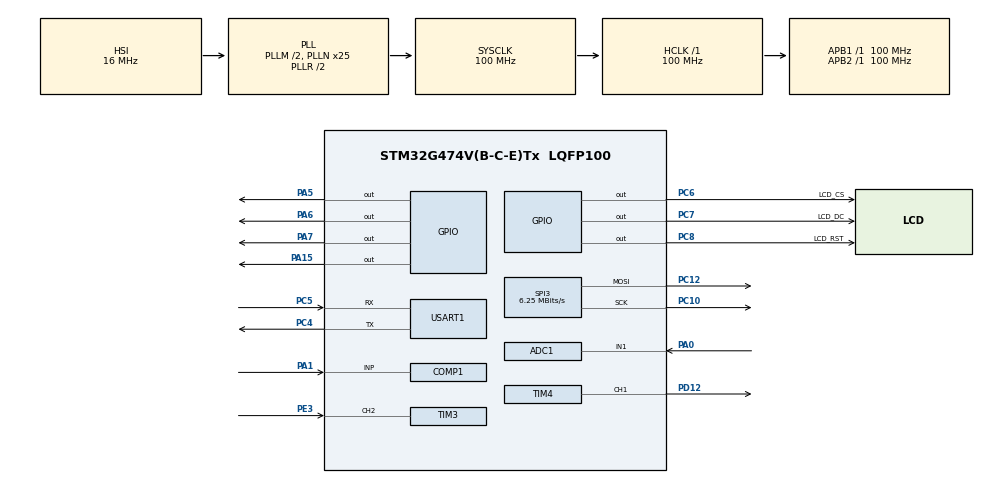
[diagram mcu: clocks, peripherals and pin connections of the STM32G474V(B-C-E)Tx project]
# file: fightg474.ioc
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ADC1.Channel-0\#ChannelRegularConversion=ADC_CHANNEL_1
ADC1.DMAContinuousRequests=ENABLE
ADC1.ExternalTrigConv=ADC_EXTERNALTRIG_T1_TRGO
ADC1.NbrOfConversionFlag=1
ADC1.OffsetNumber-0\#ChannelRegularConversion=ADC_OFFSET_NONE
ADC1.Rank-0\#ChannelRegularConversion=1
ADC1.SamplingTime-0\#ChannelRegularConversion=ADC_SAMPLETIME_2CYCLES_5
ADC1.master=1
COMP1.Hysteresis=COMP_HYSTERESIS_LOW
COMP1.TriggerMode=COMP_TRIGGERMODE_IT_RISING_FALLING
Dma.ADC1.0.Direction=DMA_PERIPH_TO_MEMORY
Dma.ADC1.0.EventEnable=DISABLE
Dma.ADC1.0.Instance=DMA1_Channel1
Dma.ADC1.0.MemDataAlignment=DMA_MDATAALIGN_WORD
Dma.ADC1.0.MemInc=DMA_MINC_ENABLE
Dma.ADC1.0.Mode=DMA_NORMAL
Dma.ADC1.0.PeriphDataAlignment=DMA_PDATAALIGN_WORD
Dma.ADC1.0.PeriphInc=DMA_PINC_DISABLE
Dma.ADC1.0.Polarity=HAL_DMAMUX_REQ_GEN_RISING
Dma.ADC1.0.Priority=DMA_PRIORITY_LOW
Dma.ADC1.0.RequestNumber=1
Dma.ADC1.0.SignalID=NONE
Dma.ADC1.0.SyncEnable=DISABLE
Dma.ADC1.0.SyncPolarity=HAL_DMAMUX_SYNC_NO_EVENT
Dma.ADC1.0.SyncRequestNumber=1
Dma.ADC1.0.SyncSignalID=NONE
Dma.Request0=ADC1
Mcu.Family=STM32G4
Mcu.Name=STM32G474V(B-C-E)Tx
Mcu.Package=LQFP100
NVIC.ADC1_2_IRQn=true\:0\:0\:false\:false\:true\:true\:true\:true
NVIC.COMP1_2_3_IRQn=true\:0\:0\:false\:false\:true\:false\:true\:true
NVIC.DMA1_Channel1_IRQn=true\:0\:0\:false\:false\:true\:false\:true\:true
NVIC.PriorityGroup=NVIC_PRIORITYGROUP_4
PA0.Mode=IN1-Single-Ended
PA0.Signal=ADC1_IN1
PA1.Mode=INP
PA1.Signal=COMP1_INP
PA13.Mode=Serial_Wire
PA13.Signal=SYS_JTMS-SWDIO
PA14.Mode=Serial_Wire
PA14.Signal=SYS_JTCK-SWCLK
PA15.GPIO_Speed=GPIO_SPEED_FREQ_HIGH
PA15.PinState=GPIO_PIN_SET
PA15.Signal=GPIO_Output
PA5.GPIO_Speed=GPIO_SPEED_FREQ_HIGH
PA5.PinState=GPIO_PIN_SET
PA5.Signal=GPIO_Output
PA6.GPIO_Speed=GPIO_SPEED_FREQ_HIGH
PA6.PinState=GPIO_PIN_SET
PA6.Signal=GPIO_Output
PA7.GPIO_Speed=GPIO_SPEED_FREQ_HIGH
PA7.PinState=GPIO_PIN_SET
PA7.Signal=GPIO_Output
PC10.Mode=TX_Only_Simplex_Unidirect_Master
PC10.Signal=SPI3_SCK
PC12.Mode=TX_Only_Simplex_Unidirect_Master
PC12.Signal=SPI3_MOSI
PC14-OSC32_IN.Mode=LSE-External-Oscillator
PC14-OSC32_IN.Signal=RCC_OSC32_IN
PC15-OSC32_OUT.Mode=LSE-External-Oscillator
PC15-OSC32_OUT.Signal=RCC_OSC32_OUT
PC4.Mode=Asynchronous
PC4.Signal=USART1_TX
PC5.Mode=Asynchronous
PC5.Signal=USART1_RX
PC6.GPIO_Label=LCD_CS
PC6.Signal=GPIO_Output
PC7.GPIO_Label=LCD_DC
PC7.Signal=GPIO_Output
PC8.GPIO_Label=LCD_RST
PC8.Signal=GPIO_Output
PD12.Signal=S_TIM4_CH1
PE3.Signal=S_TIM3_CH2
PF0-OSC_IN.Mode=HSE-External-Oscillator
PF0-OSC_IN.Signal=RCC_OSC_IN
PF1-OSC_OUT.Mode=HSE-External-Oscillator
PF1-OSC_OUT.Signal=RCC_OSC_OUT
ProjectManager.HeapSize=0x200
ProjectManager.StackSize=0x400
ProjectManager.TargetToolchain=MDK-ARM V5.32
RCC.ADC12Freq_Value=100000000
RCC.ADC345Freq_Value=100000000
RCC.AHBFreq_Value=100000000
RCC.APB1Freq_Value=100000000
RCC.APB1TimFreq_Value=100000000
RCC.APB2Freq_Value=100000000
RCC.APB2TimFreq_Value=100000000
RCC.CortexFreq_Value=100000000
RCC.EXTERNAL_CLOCK_VALUE=12288000
RCC.HCLKFreq_Value=100000000
RCC.HSE_VALUE=8000000
RCC.HSI48_VALUE=48000000
RCC.HSI_VALUE=16000000
RCC.PLLM=RCC_PLLM_DIV2
RCC.PLLN=25
RCC.SYSCLKFreq_VALUE=100000000
RCC.SYSCLKSource=RCC_SYSCLKSOURCE_PLLCLK
RCC.USBFreq_Value=100000000
RCC.VCOOutputFreq_Value=200000000
SH.S_TIM3_CH2.0=TIM3_CH2,Input_Capture2_from_TI2
SH.S_TIM4_CH1.0=TIM4_CH1,PWM Generation1 CH1
SPI3.BaudRatePrescaler=SPI_BAUDRATEPRESCALER_16
SPI3.CalculateBaudRate=6.25 MBits/s
SPI3.DataSize=SPI_DATASIZE_8BIT
SPI3.Direction=SPI_DIRECTION_2LINES
SPI3.Mode=SPI_MODE_MASTER
SPI3.VirtualType=VM_MASTER
TIM1.AutoReloadPreload=TIM_AUTORELOAD_PRELOAD_ENABLE
TIM1.PeriodNoDither=47
TIM1.Prescaler=1
TIM1.TIM_MasterOutputTrigger=TIM_TRGO_UPDATE
TIM3.Channel-Input_Capture2_from_TI2=TIM_CHANNEL_2
TIM4.AutoReloadPreload=TIM_AUTORELOAD_PRELOAD_ENABLE
TIM4.Channel-PWM\ Generation1\ CH1=TIM_CHANNEL_1
TIM4.ClockDivision=TIM_CLOCKDIVISION_DIV2
TIM4.PeriodNoDither=199
TIM4.Prescaler=99
TIM4.PulseNoDither_1=100
USART1.VirtualMode-Asynchronous=VM_ASYNC
VP_COMP1_VS_DAC3OUT1.Mode=INM_DAC3OUT1
VP_DAC3_VS_DACI1.Mode=DAC_OUT1_Int
VP_SYS_VS_DBSignals.Mode=DisableDeadBatterySignals
VP_TIM1_VS_ClockSourceINT.Mode=Internal
VP_TIM4_VS_ClockSourceINT.Mode=Internal
board=custom

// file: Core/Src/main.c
/* USER CODE BEGIN Header */
/**
  ******************************************************************************
  * @file           : main.c
  * @brief          : Main program body
  ******************************************************************************
  * @attention
  *
  * Copyright (c) 2026 STMicroelectronics.
  * All rights reserved.
  *
  * This software is licensed under terms that can be found in the LICENSE file
  * in the root directory of this software component.
  * If no LICENSE file comes with this software, it is provided AS-IS.
  *
  ******************************************************************************
  */
/* USER CODE END Header */
#include "main.h"
#include "adc.h"
#include "comp.h"
#include "dac.h"
#include "dma.h"
#include "spi.h"
#include "tim.h"
#include "usart.h"
#include "gpio.h"

/* USER CODE BEGIN Includes */
#include <math.h>
#include <stdio.h>
#include <stdlib.h>
#include "st7735s.h"
/* USER CODE END Includes */

/* USER CODE BEGIN PD */
#define COMP_DAC_INIT_CODE 1600U
#define COMP_SCAN_START_MV 1650U
#define COMP_SCAN_END_MV   2650U
#define COMP_SCAN_STEP_MV  100U
#define COMP_TARGET_OUT_HZ 5000U
#define COMP_SCAN_WINDOW_MS 100U
/* USER CODE END PD */

/* USER CODE BEGIN PV */
//extern UART_HandleTypeDef huart1;

volatile uint16_t comp_dac_code = COMP_DAC_INIT_CODE;
volatile uint32_t tim3_update_count = 0U;
volatile uint32_t tim3_update_count_last = 0U;
volatile uint8_t pd12_div_state = 0U;
volatile uint32_t comp_input_freq_hz = 0U;
volatile uint32_t tim3_divider_edges = 5U;
volatile uint32_t comp_best_error_hz = 0U;
volatile float adc_avg_v = 0.0f;
volatile float adc_min_v = 0.0f;
volatile float adc_max_v = 0.0f;
volatile float signal_a_hz = 0.0f;
volatile float signal_b_hz = 0.0f;
volatile float signal_a_mag = 0.0f;
volatile float signal_b_mag = 0.0f;
/* USER CODE END PV */

void SystemClock_Config(void);
/* USER CODE BEGIN PFP */
static void tim3_div10_output_init(void);
static void format_float_3(char *buffer, size_t buffer_size, float value);
static uint16_t dac_code_from_mv(uint32_t mv);
static void tim3_prepare_scan_mode(void);
static uint32_t measure_comp_frequency_hz(uint16_t dac_code);
static void tim3_apply_dynamic_divider(uint32_t input_freq_hz);
static void auto_tune_comp_and_divider(void);
static uint32_t fft_freq_to_bin(uint32_t freq_hz);
static float fft_bin_to_freq(uint32_t bin);
static float refine_peak_frequency(uint32_t peak_bin);
static void find_signal_peaks(float *freq_a_hz, float *mag_a, float *freq_b_hz, float *mag_b);
static void process_adc_fft_and_regenerate(void);
/* USER CODE END PFP */

/* USER CODE BEGIN 0 */
void uart_send_string(char *str)
{
	while (*str)
	{
		HAL_UART_Transmit(&huart1, (uint8_t *)str, 1U, 0xFFFFU);
		str++;
	}
}

void System_Init(void)
{
	MX_USART1_UART_Init();
}

static void tim3_div10_output_init(void)
{
	GPIO_InitTypeDef GPIO_InitStruct = {0};

	HAL_GPIO_DeInit(GPIOD, GPIO_PIN_12);
	GPIO_InitStruct.Pin = GPIO_PIN_12;
	GPIO_InitStruct.Mode = GPIO_MODE_OUTPUT_PP;
	GPIO_InitStruct.Pull = GPIO_NOPULL;
	GPIO_InitStruct.Speed = GPIO_SPEED_FREQ_LOW;
	HAL_GPIO_Init(GPIOD, &GPIO_InitStruct);
	HAL_GPIO_WritePin(GPIOD, GPIO_PIN_12, GPIO_PIN_RESET);
	pd12_div_state = 0U;
	uart_send_string("BOOT: TIM3 div10 gpio ready\r\n");

	if (HAL_TIMEx_TISelection(&htim3, TIM_TIM3_TI2_COMP1, TIM_CHANNEL_2) != HAL_OK)
	{
		uart_send_string("ERR: HAL_TIMEx_TISelection failed\r\n");
		Error_Handler();
	}
	uart_send_string("BOOT: TIM3 TISelection ok\r\n");
	if (HAL_TIM_IC_Start(&htim3, TIM_CHANNEL_2) != HAL_OK)
	{
		uart_send_string("ERR: HAL_TIM_IC_Start failed\r\n");
		Error_Handler();
	}
	uart_send_string("BOOT: TIM3 IC start ok\r\n");
	if (HAL_TIM_Base_Start(&htim3) != HAL_OK)
	{
		uart_send_string("ERR: HAL_TIM_Base_Start failed\r\n");
		Error_Handler();
	}
	uart_send_string("BOOT: TIM3 base start ok\r\n");
	__HAL_TIM_DISABLE_IT(&htim3, TIM_IT_UPDATE);
}

static void format_float_3(char *buffer, size_t buffer_size, float value)
{
	long scaled;
	long integer_part;
	long frac_part;

	if (buffer_size == 0U)
	{
		return;
	}

	scaled = lroundf(value * 1000.0f);
	integer_part = scaled / 1000L;
	frac_part = labs(scaled % 1000L);
	snprintf(buffer, buffer_size, "%ld.%03ld", integer_part, frac_part);
}

static uint16_t dac_code_from_mv(uint32_t mv)
{
	uint32_t code = ((mv * 4095U) + 1650U) / 3300U;
	if (code > 4095U)
	{
		code = 4095U;
	}
	return (uint16_t)code;
}

static void tim3_prepare_scan_mode(void)
{
	__HAL_TIM_DISABLE_IT(&htim3, TIM_IT_UPDATE);
	__HAL_TIM_SET_AUTORELOAD(&htim3, 0xFFFFU);
	__HAL_TIM_SET_COUNTER(&htim3, 0U);
	__HAL_TIM_CLEAR_FLAG(&htim3, TIM_FLAG_UPDATE);
	HAL_GPIO_WritePin(GPIOD, GPIO_PIN_12, GPIO_PIN_RESET);
	pd12_div_state = 0U;
	tim3_update_count = 0U;
	tim3_update_count_last = 0U;
}

static uint32_t measure_comp_frequency_hz(uint16_t dac_code)
{
	uint32_t start_tick;
	uint32_t edge_count;

	HAL_DAC_SetValue(&hdac3, DAC_CHANNEL_1, DAC_ALIGN_12B_R, dac_code);
	HAL_Delay(20U);
	tim3_prepare_scan_mode();
	start_tick = HAL_GetTick();
	while ((HAL_GetTick() - start_tick) < COMP_SCAN_WINDOW_MS)
	{
	}
	edge_count = __HAL_TIM_GET_COUNTER(&htim3);
	return edge_count * (1000U / COMP_SCAN_WINDOW_MS);
}

static void tim3_apply_dynamic_divider(uint32_t input_freq_hz)
{
	uint32_t divider_edges;

	divider_edges = (input_freq_hz + COMP_TARGET_OUT_HZ) / (2U * COMP_TARGET_OUT_HZ);
	if (divider_edges < 1U)
	{
		divider_edges = 1U;
	}
	if (divider_edges > 65535U)
	{
		divider_edges = 65535U;
	}

	tim3_divider_edges = divider_edges;
	comp_input_freq_hz = input_freq_hz;
	__HAL_TIM_DISABLE_IT(&htim3, TIM_IT_UPDATE);
	__HAL_TIM_SET_AUTORELOAD(&htim3, divider_edges - 1U);
	__HAL_TIM_SET_COUNTER(&htim3, 0U);
	__HAL_TIM_CLEAR_FLAG(&htim3, TIM_FLAG_UPDATE);
	HAL_GPIO_WritePin(GPIOD, GPIO_PIN_12, GPIO_PIN_RESET);
	pd12_div_state = 0U;
	tim3_update_count = 0U;
	tim3_update_count_last = 0U;
	__HAL_TIM_ENABLE_IT(&htim3, TIM_IT_UPDATE);
}

static void auto_tune_comp_and_divider(void)
{
	uint32_t mv;
	uint32_t best_freq = 0U;
	uint16_t best_code = comp_dac_code;
	uint32_t best_error = 0xFFFFFFFFUL;
	char line[160];

	uart_send_string("COMP auto scan start\r\n");
	for (mv = COMP_SCAN_START_MV; mv <= COMP_SCAN_END_MV; mv += COMP_SCAN_STEP_MV)
	{
		uint16_t code = dac_code_from_mv(mv);
		uint32_t measured_freq = measure_comp_frequency_hz(code);
		uint32_t divider_edges = (measured_freq + COMP_TARGET_OUT_HZ) / (2U * COMP_TARGET_OUT_HZ);
		uint32_t estimated_out_hz;
		uint32_t error_hz;

		if (divider_edges < 1U)
		{
			divider_edges = 1U;
		}
		estimated_out_hz = measured_freq / (2U * divider_edges);
		error_hz = (estimated_out_hz > COMP_TARGET_OUT_HZ) ? (estimated_out_hz - COMP_TARGET_OUT_HZ) : (COMP_TARGET_OUT_HZ - estimated_out_hz);

		sprintf(line,
				"COMP scan: %lumV code=%u, comp=%luHz, div=%lu, out=%luHz, err=%luHz\r\n",
				(unsigned long)mv,
				code,
				(unsigned long)measured_freq,
				(unsigned long)divider_edges,
				(unsigned long)estimated_out_hz,
				(unsigned long)error_hz);
		uart_send_string(line);

		if (measured_freq > 0U && error_hz < best_error)
		{
			best_error = error_hz;
			best_code = code;
			best_freq = measured_freq;
		}
	}

	comp_dac_code = best_code;
	comp_best_error_hz = best_error;
	HAL_DAC_SetValue(&hdac3, DAC_CHANNEL_1, DAC_ALIGN_12B_R, comp_dac_code);
	tim3_apply_dynamic_divider(best_freq);

	sprintf(line,
			"COMP scan selected: code=%u, comp=%luHz, div=%lu, target=%luHz, err=%luHz\r\n",
			comp_dac_code,
			(unsigned long)comp_input_freq_hz,
			(unsigned long)tim3_divider_edges,
			(unsigned long)COMP_TARGET_OUT_HZ,
			(unsigned long)comp_best_error_hz);
	uart_send_string(line);
}

static uint32_t fft_freq_to_bin(uint32_t freq_hz)
{
	uint32_t bin = (uint32_t)((((uint64_t)freq_hz) * FFT_LENGTH + ((uint64_t)ADC1_SAMPLE_FREQ_HZ / 2ULL)) / (uint64_t)ADC1_SAMPLE_FREQ_HZ);
	uint32_t max_bin = (FFT_LENGTH / 2U) - 1U;
	if (bin > max_bin)
	{
		bin = max_bin;
	}
	return bin;
}

static float fft_bin_to_freq(uint32_t bin)
{
	return ((float)bin * ADC1_SAMPLE_FREQ_HZ) / (float)FFT_LENGTH;
}

static float refine_peak_frequency(uint32_t peak_bin)
{
	float left;
	float center;
	float right;
	float denom;
	float delta = 0.0f;

	if ((peak_bin == 0U) || (peak_bin >= ((FFT_LENGTH / 2U) - 1U)))
	{
		return fft_bin_to_freq(peak_bin);
	}

	left = fft_out[peak_bin - 1U];
	center = fft_out[peak_bin];
	right = fft_out[peak_bin + 1U];
	denom = left - (2.0f * center) + right;
	if (fabsf(denom) > 1e-6f)
	{
		delta = 0.5f * (left - right) / denom;
		if (delta > 1.0f)
		{
			delta = 1.0f;
		}
		else if (delta < -1.0f)
		{
			delta = -1.0f;
		}
	}
	return (((float)peak_bin + delta) * ADC1_SAMPLE_FREQ_HZ) / (float)FFT_LENGTH;
}

static void find_signal_peaks(float *freq_a_hz, float *mag_a, float *freq_b_hz, float *mag_b)
{
	uint32_t min_bin = fft_freq_to_bin(FFT_SEARCH_FREQ_MIN_HZ);
	uint32_t max_bin = fft_freq_to_bin(FFT_SEARCH_FREQ_MAX_HZ);
	uint32_t peak1_bin = min_bin;
	uint32_t peak2_bin = min_bin;
	float peak1_mag = 0.0f;
	float peak2_mag = 0.0f;
	uint32_t i;
	uint32_t exclusion_radius = 3U;

	for (i = min_bin; i <= max_bin; i++)
	{
		if (fft_out[i] > peak1_mag)
		{
			peak1_mag = fft_out[i];
			peak1_bin = i;
		}
	}

	for (i = min_bin; i <= max_bin; i++)
	{
		uint32_t distance = (i > peak1_bin) ? (i - peak1_bin) : (peak1_bin - i);
		if (distance <= exclusion_radius)
		{
			continue;
		}
		if (fft_out[i] > peak2_mag)
		{
			peak2_mag = fft_out[i];
			peak2_bin = i;
		}
	}

	*freq_a_hz = refine_peak_frequency(peak1_bin);
	*mag_a = peak1_mag;
	*freq_b_hz = refine_peak_frequency(peak2_bin);
	*mag_b = peak2_mag;
	if (*freq_a_hz > *freq_b_hz)
	{
		float tmp_freq = *freq_a_hz;
		float tmp_mag = *mag_a;
		*freq_a_hz = *freq_b_hz;
		*mag_a = *mag_b;
		*freq_b_hz = tmp_freq;
		*mag_b = tmp_mag;
	}
}

static void process_adc_fft_and_regenerate(void)
{
	float local_avg = 0.0f;
	float local_min = adc1_data[0];
	float local_max = adc1_data[0];
	float freq_a = 0.0f;
	float freq_b = 0.0f;
	float mag_a = 0.0f;
	float mag_b = 0.0f;
	uint32_t i;

	for (i = 0U; i < ADC1_DMA_BUFFER_LENGTH; i++)
	{
		float value = adc1_data[i];
		local_avg += value;
		if (value < local_min)
		{
			local_min = value;
		}
		if (value > local_max)
		{
			local_max = value;
		}
	}
	local_avg /= (float)ADC1_DMA_BUFFER_LENGTH;

	calculate_fft(adc1_data, FFT_LENGTH);
	find_signal_peaks(&freq_a, &mag_a, &freq_b, &mag_b);

	adc_avg_v = local_avg;
	adc_min_v = local_min;
	adc_max_v = local_max;
	signal_a_hz = freq_a;
	signal_b_hz = freq_b;
	signal_a_mag = mag_a;
	signal_b_mag = mag_b;

	dds_update_frequency(0U, (uint32_t)(freq_a + 0.5f));
	dds_update_frequency(1U, (uint32_t)(freq_b + 0.5f));

	if (HAL_ADC_Start_DMA(&hadc1, adc1_dma_buffer, ADC1_DMA_BUFFER_LENGTH) != HAL_OK)
	{
		uart_send_string("ERR: HAL_ADC_Start_DMA rearm failed\r\n");
	}
}
/* USER CODE END 0 */

int main(void)
{

  /* MCU Configuration--------------------------------------------------------*/

  /* Reset of all peripherals, Initializes the Flash interface and the Systick. */
  HAL_Init();

  /* Configure the system clock */
  SystemClock_Config();

  /* Initialize all configured peripherals */
  MX_GPIO_Init();
  MX_DMA_Init();
  MX_ADC1_Init();
  MX_TIM1_Init();
  MX_USART1_UART_Init();
  MX_COMP1_Init();
  MX_DAC3_Init();
  MX_TIM3_Init();
  MX_TIM4_Init();
  MX_SPI3_Init();
  /* USER CODE BEGIN 2 */
	System_Init();
	uart_send_string("BOOT: after System_Init\r\n");
	HAL_DAC_SetValue(&hdac3, DAC_CHANNEL_1, DAC_ALIGN_12B_R, comp_dac_code);
	HAL_DAC_Start(&hdac3, DAC_CHANNEL_1);
	uart_send_string("BOOT: after DAC start\r\n");
	if (HAL_COMP_Start(&hcomp1) != HAL_OK)
	{
		Error_Handler();
	}
	uart_send_string("BOOT: after COMP start\r\n");
	HAL_NVIC_DisableIRQ(COMP1_2_3_IRQn);
	{
		char line[80];
		sprintf(line, "COMP DAC start code: %u\r\n", comp_dac_code);
		uart_send_string(line);
	}
	uart_send_string("BOOT: before TIM3 div10 init\r\n");
	tim3_div10_output_init();
	uart_send_string("BOOT: after TIM3 div10 init\r\n");
	auto_tune_comp_and_divider();
	uart_send_string("TIM3 dynamic divided output started on PD12\r\n");
	uart_send_string("LCD init skipped for debug\r\n");
	init_hanning_window();
	My_ADC_Init();
	AD9833_Init();
	dds_proc();
	uart_send_string("FFT + AD9833 chain started\r\n");
  /* USER CODE END 2 */

  /* Infinite loop */
  /* USER CODE BEGIN WHILE */
	while (1)
	{
		static uint32_t last_report_ms = 0U;
		adc1_deal();
		if (adc1_proc_flag)
		{
			adc1_proc_flag = 0U;
			process_adc_fft_and_regenerate();
		}
		if ((HAL_GetTick() - last_report_ms) >= 500U)
		{
			char line[160];
			char freq_str[24];
			char avg_str[24];
			char min_str[24];
			char max_str[24];
			char sig_a_str[24];
			char sig_b_str[24];
			char mag_a_str[24];
			char mag_b_str[24];
			uint32_t update_delta = tim3_update_count - tim3_update_count_last;
			float divided_freq_hz = (float)update_delta;
			last_report_ms = HAL_GetTick();
			tim3_update_count_last = tim3_update_count;
			format_float_3(freq_str, sizeof(freq_str), divided_freq_hz);
			format_float_3(avg_str, sizeof(avg_str), adc_avg_v);
			format_float_3(min_str, sizeof(min_str), adc_min_v);
			format_float_3(max_str, sizeof(max_str), adc_max_v);
			format_float_3(sig_a_str, sizeof(sig_a_str), signal_a_hz);
			format_float_3(sig_b_str, sizeof(sig_b_str), signal_b_hz);
			format_float_3(mag_a_str, sizeof(mag_a_str), signal_a_mag);
			format_float_3(mag_b_str, sizeof(mag_b_str), signal_b_mag);
			sprintf(line,
					"COMP auto mode: dac=%u, comp=%luHz, div=%lu, err=%luHz, updates/500ms=%lu, PD12=%sHz\r\n",
					comp_dac_code,
					(unsigned long)comp_input_freq_hz,
					(unsigned long)tim3_divider_edges,
					(unsigned long)comp_best_error_hz,
					update_delta,
					freq_str);
			uart_send_string(line);
			sprintf(line, "ADC Avg: %s V\r\n", avg_str);
			uart_send_string(line);
			sprintf(line, "ADC Min/Max: %s / %s V\r\n", min_str, max_str);
			uart_send_string(line);
			sprintf(line, "Signal A': %s Hz, Mag: %s\r\n", sig_a_str, mag_a_str);
			uart_send_string(line);
			sprintf(line, "Signal B': %s Hz, Mag: %s\r\n", sig_b_str, mag_b_str);
			uart_send_string(line);
		}
	}
    /* USER CODE END WHILE */

}

void SystemClock_Config(void)
{
  RCC_OscInitTypeDef RCC_OscInitStruct = {0};
  RCC_ClkInitTypeDef RCC_ClkInitStruct = {0};

  /** Configure the main internal regulator output voltage
  */
  HAL_PWREx_ControlVoltageScaling(PWR_REGULATOR_VOLTAGE_SCALE1);

  /** Initializes the RCC Oscillators according to the specified parameters
  * in the RCC_OscInitTypeDef structure.
  */
  RCC_OscInitStruct.OscillatorType = RCC_OSCILLATORTYPE_HSI;
  RCC_OscInitStruct.HSIState = RCC_HSI_ON;
  RCC_OscInitStruct.HSICalibrationValue = RCC_HSICALIBRATION_DEFAULT;
  RCC_OscInitStruct.PLL.PLLState = RCC_PLL_ON;
  RCC_OscInitStruct.PLL.PLLSource = RCC_PLLSOURCE_HSI;
  RCC_OscInitStruct.PLL.PLLM = RCC_PLLM_DIV2;
  RCC_OscInitStruct.PLL.PLLN = 25;
  RCC_OscInitStruct.PLL.PLLP = RCC_PLLP_DIV2;
  RCC_OscInitStruct.PLL.PLLQ = RCC_PLLQ_DIV2;
  RCC_OscInitStruct.PLL.PLLR = RCC_PLLR_DIV2;
  if (HAL_RCC_OscConfig(&RCC_OscInitStruct) != HAL_OK)
  {
    Error_Handler();
  }

  /** Initializes the CPU, AHB and APB buses clocks
  */
  RCC_ClkInitStruct.ClockType = RCC_CLOCKTYPE_HCLK|RCC_CLOCKTYPE_SYSCLK
                              |RCC_CLOCKTYPE_PCLK1|RCC_CLOCKTYPE_PCLK2;
  RCC_ClkInitStruct.SYSCLKSource = RCC_SYSCLKSOURCE_PLLCLK;
  RCC_ClkInitStruct.AHBCLKDivider = RCC_SYSCLK_DIV1;
  RCC_ClkInitStruct.APB1CLKDivider = RCC_HCLK_DIV1;
  RCC_ClkInitStruct.APB2CLKDivider = RCC_HCLK_DIV1;

  if (HAL_RCC_ClockConfig(&RCC_ClkInitStruct, FLASH_LATENCY_3) != HAL_OK)
  {
    Error_Handler();
  }
}

/* USER CODE BEGIN 4 */
void HAL_COMP_TriggerCallback(COMP_HandleTypeDef *hcomp)
{
	(void)hcomp;
}

void HAL_TIM_IC_CaptureCallback(TIM_HandleTypeDef *htim)
{
	(void)htim;
}

void HAL_TIM_PeriodElapsedCallback(TIM_HandleTypeDef *htim)
{
	if (htim->Instance == TIM3)
	{
		pd12_div_state ^= 1U;
		HAL_GPIO_WritePin(GPIOD, GPIO_PIN_12, pd12_div_state ? GPIO_PIN_SET : GPIO_PIN_RESET);
		tim3_update_count++;
	}
}
/* USER CODE END 4 */

void Error_Handler(void)
{
  __disable_irq();
  while (1)
  {
  }
}
